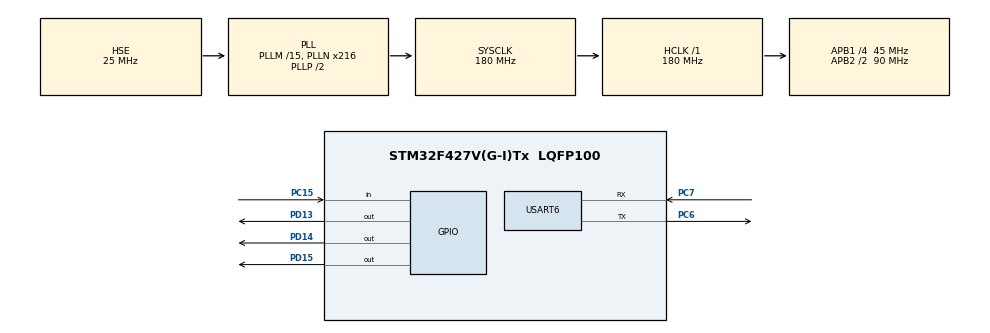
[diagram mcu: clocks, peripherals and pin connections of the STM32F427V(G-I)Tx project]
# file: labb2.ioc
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Mcu.Family=STM32F4
RCC.PLLSourceVirtual=RCC_PLLSOURCE_HSE
RCC.CortexFreq_Value=180000000
PC6.Signal=USART6_TX
RCC.APB1CLKDivider=RCC_HCLK_DIV4
RCC.SYSCLKSource=RCC_SYSCLKSOURCE_PLLCLK
ProjectManager.StackSize=0x400
NVIC.USART6_IRQn=true\:0\:0\:false\:false\:true\:true\:true
PA13.Signal=SYS_JTMS-SWDIO
PD13.Signal=GPIO_Output
ProjectManager.TargetToolchain=STM32CubeIDE
PC6.Mode=Asynchronous
PH0/OSC_IN.Mode=HSE-External-Oscillator
RCC.HCLKFreq_Value=180000000
RCC.APB2TimFreq_Value=180000000
PC7.Signal=USART6_RX
PH1/OSC_OUT.Signal=RCC_OSC_OUT
RCC.LSE_VALUE=32768
RCC.AHBFreq_Value=180000000
RCC.HSE_VALUE=25000000
PB3.Mode=JTAG_5_pins
board=custom
RCC.VCOOutputFreq_Value=360000000
PA15.Mode=JTAG_5_pins
PH0/OSC_IN.Signal=RCC_OSC_IN
RCC.APB2Freq_Value=90000000
PB4.Mode=JTAG_5_pins
PA14.Mode=JTAG_5_pins
PA13.Mode=JTAG_5_pins
PH1/OSC_OUT.Mode=HSE-External-Oscillator
Mcu.Name=STM32F427V(G-I)Tx
PD14.Signal=GPIO_Output
RCC.48MHZClocksFreq_Value=90000000
PB3.Signal=SYS_JTDO-SWO
RCC.SYSCLKFreq_VALUE=180000000
Mcu.Package=LQFP100
USART6.VirtualMode=VM_ASYNC
PA14.Signal=SYS_JTCK-SWCLK
PA15.Signal=SYS_JTDI
ProjectManager.HeapSize=0x200
RCC.HSI_VALUE=16000000
NVIC.PriorityGroup=NVIC_PRIORITYGROUP_4
RCC.APB2CLKDivider=RCC_HCLK_DIV2
RCC.PLLM=15
RCC.PLLN=216
RCC.APB1TimFreq_Value=90000000
PC15/OSC32_OUT.Signal=GPIO_Input
PC7.Mode=Asynchronous
RCC.APB1Freq_Value=45000000
PD15.Signal=GPIO_Output
PB4.Signal=SYS_JTRST

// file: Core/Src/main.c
/* USER CODE BEGIN Header */
/**
  ******************************************************************************
  * @file           : main.c
  * @brief          : Main program body
  ******************************************************************************
  * @attention
  *
  * <h2><center>&copy; Copyright (c) 2023 STMicroelectronics.
  * All rights reserved.</center></h2>
  *
  * This software component is licensed by ST under BSD 3-Clause license,
  * the "License"; You may not use this file except in compliance with the
  * License. You may obtain a copy of the License at:
  *                        opensource.org/licenses/BSD-3-Clause
  *
  ******************************************************************************
  */
/* USER CODE END Header */
#include "main.h"
#include "usart.h"
#include "gpio.h"

/* USER CODE BEGIN Includes */
#include "stdio.h"
#include "stdbool.h"

/* USER CODE END Includes */

/* USER CODE BEGIN PD */
#define SEQ_LEN 8
#define BLINK_DELAY 100
#define LIGHT_DELAY 1000
#define WAIT 20
#define INCORRECT_TIMEOUT 10000
#define DURATION 30000
#define BUF_SIZE 1024

/* USER CODE END PD */

/* USER CODE BEGIN PTD */
typedef struct {
    int interrupt_enable;

    uint32_t pmask;
} it_status;

typedef enum {
	NOT_PRESSED,
	PRESSED
} button_state;

typedef enum {

	NEW_PASS,
	CURRENT_PASS,
	APPROVAL
} console_mode;

struct ring_buffer_proto {
  char data[BUF_SIZE];
  uint8_t head;
  uint8_t tail;
  bool empty;
};

typedef struct ring_buffer_proto ring_buffer;

/* USER CODE END PTD */

/* USER CODE BEGIN PV */
static char	correct_seq_c[SEQ_LEN];
static char approval_seq[SEQ_LEN];
static int cur_index 				= 0;
static int incorrect_presses 		= 0;
static it_status status;
static char el[2];
console_mode mode 					= CURRENT_PASS;

static char APPROVAL_MSG[] 			= "Do you want to set this new password (y to accept, anything otherwise)? ";
static char WRONG_PASSWORD[] 		= "3 incorrect attempts, sleeping for 10 sec.";
static bool transmit_busy = false;
static button_state current_state = NOT_PRESSED;
/* USER CODE END PV */

void SystemClock_Config(void);

/* USER CODE BEGIN 0 */
extern void initialise_monitor_handles(void);

static void buf_init(ring_buffer *buf) {
  buf->head = 0;
  buf->tail = 0;
  buf->empty = true;
}

static void buf_push(ring_buffer *buf, char *el) {
  uint64_t size = strlen(el);

  if (buf->head + size + 1 > BUF_SIZE) {
    buf->head = 0;
  }

  strcpy(&buf->data[buf->head], el);
  //    buf->data[buf->head] = el;
  buf->head += size + 1;

  if (buf->head == BUF_SIZE) {
    buf->head = 0;
  }

  buf->empty = false;
}

static bool buf_pop(ring_buffer *buf, /* out */ char *el) {
  if (buf->empty) {
    return false;
  }

  uint64_t size = strlen(&buf->data[buf->tail]);

  strcpy(el, &buf->data[buf->tail]);
  buf->tail += size + 1;

  if (buf->tail == BUF_SIZE || buf->tail == '\0') {
    buf->tail = 0;
  }

  if (buf->tail == buf->head) {
    buf->empty = true;
  }

  return true;
}

static ring_buffer r_buff;
static ring_buffer ring_buffer_tx;

void enable_interrupt(it_status *status) {
	HAL_NVIC_EnableIRQ(USART6_IRQn);
	status->interrupt_enable = true;
}

void disable_interrupt(it_status *status) {
	HAL_UART_AbortReceive(&huart6);
	HAL_NVIC_DisableIRQ(USART6_IRQn);
    status->interrupt_enable = false;
}

void transmit_uart(const it_status *status, char *buf, size_t size) {
  if (status->interrupt_enable) {
    if (transmit_busy) {
      buf_push(&ring_buffer_tx, buf);
    } else {
      HAL_UART_Transmit_IT(&huart6, buf, size);
      transmit_busy = true;
    }
    return;
  }
  HAL_UART_Transmit(&huart6, buf, size, 100);
}

void receive_uart(const it_status *status) {
  if (status->interrupt_enable) {
    HAL_UART_Receive_IT(&huart6, el, sizeof(char));
    return;
  }
  HAL_StatusTypeDef stat = HAL_UART_Receive(&huart6, el, sizeof(char), 0);
  switch (stat) {
  case HAL_OK: {
    buf_push(&r_buff, el);
    transmit_uart(status, el, 1);
    break;
  }
  case HAL_ERROR:
  case HAL_BUSY:
  case HAL_TIMEOUT:
    break;
  }
}

void HAL_UART_RxCpltCallback(UART_HandleTypeDef *huart) {
	if (huart->Instance == huart6.Instance) {
  buf_push(&r_buff, el);
  transmit_uart(&status, el, 1);}
}

void HAL_UART_TxCpltCallback(UART_HandleTypeDef *huart) {
	if (huart->Instance == huart6.Instance) {
  char buf[1024];
  if (buf_pop(&ring_buffer_tx, buf)) {
    HAL_UART_Transmit_IT(&huart6, buf, strlen(buf));
  } else {
    transmit_busy = false;
  }
	}
}

button_state get_button_state() {
	int start_time;
	int hal_button_state = HAL_GPIO_ReadPin(GPIOC, GPIO_PIN_15);
	button_state current_state = NOT_PRESSED;

	if(!hal_button_state){
		start_time = HAL_GetTick();
	}

	while (!hal_button_state){
	 if (HAL_GetTick() - start_time >= WAIT){
		current_state = PRESSED;
	 }

	  hal_button_state = HAL_GPIO_ReadPin(GPIOC, GPIO_PIN_15);
	}

	return current_state;
}

bool is_allowed_symbol(char symbol) {
	return symbol < 127 && symbol > 20;
}

/* USER CODE END 0 */

int main(void)
{
  /* USER CODE BEGIN 1 */
	//initialise_monitor_handles();

  /* USER CODE END 1 */

  /* MCU Configuration--------------------------------------------------------*/

  /* Reset of all peripherals, Initializes the Flash interface and the Systick. */
  HAL_Init();

  /* Configure the system clock */
  SystemClock_Config();

  /* Initialize all configured peripherals */
  MX_GPIO_Init();
  MX_USART6_UART_Init();

  /* Infinite loop */
  /* USER CODE BEGIN WHILE */

  uint32_t tickstart = HAL_GetTick();

  //disable_interrupt(&status);
  enable_interrupt(&status);
  buf_init(&r_buff);
  transmit_uart(&status, "\f", 1);

  while (1)
  {
	  if (get_button_state() == PRESSED) {
		  if (status.interrupt_enable) {
			  disable_interrupt(&status);
		  } else {
			  enable_interrupt(&status);
		  }
	  }

	  if (HAL_GetTick() - tickstart > DURATION) {
		  cur_index = 0;
		  tickstart = HAL_GetTick();
	  }

	  receive_uart(&status);

	  char c[2];

	  if (!buf_pop(&r_buff, c)) {
		  continue;
	  }

	  if (c[0] == '+') {
		  cur_index = 0;
		  mode = NEW_PASS;
		  //transmit_uart(&status, "\r\n", 2);
		  continue;
	  }

	  if (c[0] == '\r' && mode == NEW_PASS) {
		  cur_index = 0;
		  mode = APPROVAL;
		  transmit_uart(&status, "\r\n", 2);
		  transmit_uart(&status, APPROVAL_MSG, sizeof(APPROVAL_MSG));
		  continue;
	  }

	  //HAL_UART_Transmit( &huart6, (uint8_t *) s, sizeof( s ), 10 );
	  //HAL_Delay( 1000 );
	  if (mode == CURRENT_PASS && is_allowed_symbol(c[0])) {
		  if (correct_seq_c[cur_index] == c[0]) {
			  HAL_GPIO_WritePin(GPIOD, GPIO_PIN_14, GPIO_PIN_SET);
			  HAL_Delay(BLINK_DELAY);
			  HAL_GPIO_WritePin(GPIOD, GPIO_PIN_14, GPIO_PIN_RESET);
			  cur_index++;
		  } else {
			  incorrect_presses++;
			  if (incorrect_presses == 3) {
				  transmit_uart(&status, "\r\n", 2);
				  transmit_uart(&status, WRONG_PASSWORD, sizeof(WRONG_PASSWORD));
				  for (size_t i = 0; i < 3; ++i) {
					  HAL_GPIO_WritePin(GPIOD, GPIO_PIN_15, GPIO_PIN_SET);
					  HAL_Delay(LIGHT_DELAY);
					  HAL_GPIO_WritePin(GPIOD, GPIO_PIN_15, GPIO_PIN_RESET);
					  HAL_Delay(LIGHT_DELAY);
				  }
				  incorrect_presses = 0;
				  HAL_Delay(INCORRECT_TIMEOUT);
			  } else {
				  HAL_GPIO_WritePin(GPIOD, GPIO_PIN_15, GPIO_PIN_SET);
				  HAL_Delay(BLINK_DELAY);
				  HAL_GPIO_WritePin(GPIOD, GPIO_PIN_15, GPIO_PIN_RESET);
			  }
			  cur_index = 0;
		  }

		  if (cur_index == SEQ_LEN || correct_seq_c[cur_index] == '\0') {
			  HAL_GPIO_WritePin(GPIOD, GPIO_PIN_13, GPIO_PIN_SET);
			  HAL_Delay(LIGHT_DELAY * 3);
			  HAL_GPIO_WritePin(GPIOD, GPIO_PIN_13, GPIO_PIN_RESET);
			  cur_index = 0;
		  }
	  } else {
		  if (is_allowed_symbol(c[0]) && mode == NEW_PASS) {
			  approval_seq[cur_index] = c[0];
			  cur_index++;

			  if (cur_index == SEQ_LEN) {
				  mode = APPROVAL;
			  }
		  } else {
			  if (c[0] == 'y') {
				  memcpy(correct_seq_c, approval_seq, SEQ_LEN);
			  }

			  mode = CURRENT_PASS;
			  transmit_uart(&status, "\r\n", 2);
		  }
	  }

    /* USER CODE END WHILE */

  }
}

void SystemClock_Config(void)
{
  RCC_OscInitTypeDef RCC_OscInitStruct = {0};
  RCC_ClkInitTypeDef RCC_ClkInitStruct = {0};

  /** Configure the main internal regulator output voltage
  */
  __HAL_RCC_PWR_CLK_ENABLE();
  __HAL_PWR_VOLTAGESCALING_CONFIG(PWR_REGULATOR_VOLTAGE_SCALE1);
  /** Initializes the RCC Oscillators according to the specified parameters
  * in the RCC_OscInitTypeDef structure.
  */
  RCC_OscInitStruct.OscillatorType = RCC_OSCILLATORTYPE_HSE;
  RCC_OscInitStruct.HSEState = RCC_HSE_ON;
  RCC_OscInitStruct.PLL.PLLState = RCC_PLL_ON;
  RCC_OscInitStruct.PLL.PLLSource = RCC_PLLSOURCE_HSE;
  RCC_OscInitStruct.PLL.PLLM = 15;
  RCC_OscInitStruct.PLL.PLLN = 216;
  RCC_OscInitStruct.PLL.PLLP = RCC_PLLP_DIV2;
  RCC_OscInitStruct.PLL.PLLQ = 4;
  if (HAL_RCC_OscConfig(&RCC_OscInitStruct) != HAL_OK)
  {
    Error_Handler();
  }
  /** Activate the Over-Drive mode
  */
  if (HAL_PWREx_EnableOverDrive() != HAL_OK)
  {
    Error_Handler();
  }
  /** Initializes the CPU, AHB and APB buses clocks
  */
  RCC_ClkInitStruct.ClockType = RCC_CLOCKTYPE_HCLK|RCC_CLOCKTYPE_SYSCLK
                              |RCC_CLOCKTYPE_PCLK1|RCC_CLOCKTYPE_PCLK2;
  RCC_ClkInitStruct.SYSCLKSource = RCC_SYSCLKSOURCE_PLLCLK;
  RCC_ClkInitStruct.AHBCLKDivider = RCC_SYSCLK_DIV1;
  RCC_ClkInitStruct.APB1CLKDivider = RCC_HCLK_DIV4;
  RCC_ClkInitStruct.APB2CLKDivider = RCC_HCLK_DIV2;

  if (HAL_RCC_ClockConfig(&RCC_ClkInitStruct, FLASH_LATENCY_5) != HAL_OK)
  {
    Error_Handler();
  }
}

void Error_Handler(void)
{
  __disable_irq();
  while (1)
  {
  }
}

/************************ (C) COPYRIGHT STMicroelectronics *****END OF FILE****/
